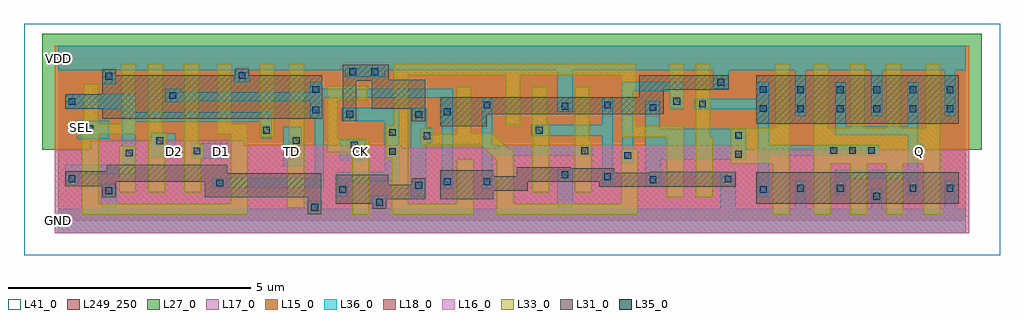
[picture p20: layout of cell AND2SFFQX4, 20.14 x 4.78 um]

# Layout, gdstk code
import gdstk
lib = gdstk.Library(unit=1e-6, precision=1e-09)
def R(c, l, rs):  # rectangles x0, y0, x1, y1
    for r in rs: c.add(gdstk.rectangle(r[:2], r[2:], *l))
def A(c, l, x, y, w, h, nx, ny, dx, dy):  # array of equal rectangles
    R(c, l, [(x+i*dx, y+j*dy, x+i*dx+w, y+j*dy+h) for i in range(nx) for j in range(ny)])
def P(c, l, *ps):  # polygons
    for p in ps: c.add(gdstk.Polygon(p, *l))
L15_0 = (15, 0)
L16_0 = (16, 0)
L17_0 = (17, 0)
L18_0 = (18, 0)
L27_0 = (27, 0)
L31_0 = (31, 0)
L33_0 = (33, 0)
L35_0 = (35, 0)
L36_0 = (36, 0)
L41_0 = (41, 0)
L249_250 = (249, 250)

and2sffqx4 = lib.new_cell('AND2SFFQX4')
P(and2sffqx4, L15_0, [(-0.08,1.47),(-0.08,3.61),(18.8,3.61),(18.8,1.47),(14.102,1.47),(14.102,1.56),(9.098,1.56),(9.098,1.5),(7.086,1.5),(7.086,1.56),(3.837,1.56),(3.837,1.654),(0.67,1.654),(0.67,1.47)])
P(and2sffqx4, L16_0, [(-0.08,-0.25),(-0.08,1.47),(0.67,1.47),(0.67,1.654),(3.837,1.654),(3.837,1.56),(7.086,1.56),(7.086,1.5),(9.098,1.5),(9.098,1.56),(14.102,1.56),(14.102,1.47),(18.8,1.47),(18.8,-0.25)])
P(and2sffqx4, L17_0, [(-0.08,1.47),(-0.08,3.61),(18.8,3.61),(18.8,1.47),(14.102,1.47),(14.102,1.56),(9.098,1.56),(9.098,1.5),(7.086,1.5),(7.086,1.56),(3.837,1.56),(3.837,1.654),(0.67,1.654),(0.67,1.47)])
P(and2sffqx4, L18_0, [(-0.08,-0.25),(-0.08,1.47),(0.67,1.47),(0.67,1.654),(3.837,1.654),(3.837,1.56),(7.086,1.56),(7.086,1.5),(9.098,1.5),(9.098,1.56),(14.102,1.56),(14.102,1.47),(18.8,1.47),(18.8,-0.25)])
P(and2sffqx4, L27_0, [(-0.33,1.47),(-0.33,3.86),(19.05,3.86),(19.05,1.47),(14.102,1.47),(14.102,1.56),(9.098,1.56),(9.098,1.5),(7.086,1.5),(7.086,1.56),(3.837,1.56),(3.837,1.654),(0.67,1.654),(0.67,1.47)])
R(and2sffqx4, L31_0, [(14.404,0.35,18.58,1), (14.404,2.01,18.58,3.01)])
P(and2sffqx4, L31_0, [(0.9,2.11),(0.9,2.315),(0.14,2.315),(0.14,2.615),(0.9,2.615),(0.9,3.125),(1.18,3.125),(1.18,3.01),(3.65,3.01),(3.65,3.139),(3.93,3.139),(3.93,3.01),(5.448,3.01),(5.448,2.11)],
  [(7.294,2.055),(7.294,2.31),(6.471,2.31),(6.471,2.89),(6.151,2.89),(6.151,2.06),(5.871,2.06),(5.871,3.22),(6.814,3.22),(6.814,2.91),(7.574,2.91),(7.574,2.055)],
  [(7.884,1.95),(7.884,2.55),(11.99,2.55),(11.99,3.01),(13.83,3.01),(13.83,2.71),(12.495,2.71),(12.495,2.2),(8.834,2.2),(8.834,1.95)],
  [(7.884,0.45),(7.884,1.05),(8.972,1.05),(8.972,0.92),(9.462,0.92),(9.462,1.11),(10.582,1.11),(10.582,1.09),(11.47,1.09),(11.47,0.99),(12.225,0.99),(12.225,1.01),(13.975,1.01),(13.975,0.71),(11.157,0.71),(11.157,0.81),(9.682,0.81),(9.682,0.62),(8.972,0.62),(8.972,0.45)],
  [(6.488,0.247),(6.488,0.35),(5.728,0.35),(5.728,0.95),(6.804,0.95),(6.804,0.75),(7.294,0.75),(7.294,0.876),(7.574,0.876),(7.574,0.45),(6.768,0.45),(6.768,0.247)],
  [(5.148,0.14),(5.148,0.488),(3.021,0.488),(3.021,0.81),(1.18,0.81),(1.18,0.485),(0.9,0.485),(0.9,0.72),(0.14,0.72),(0.14,1.02),(1.001,1.02),(1.001,1.16),(3.484,1.16),(3.484,0.988),(5.428,0.988),(5.428,0.14)])
R(and2sffqx4, L33_0, [(1.251,0.59,1.601,1.55), (4.154,1.73,4.454,3.23), (12.6,2.33,12.9,3.23)])
P(and2sffqx4, L33_0, [(10.652,0.59),(10.652,2.77),(10.952,2.77),(10.952,1.666),(11.002,1.666),(11.002,0.59)],
  [(9.782,0.59),(9.782,2.77),(10.082,2.77),(10.082,2.01),(10.132,2.01),(10.132,0.59)],
  [(2.601,0.59),(2.601,3.23),(2.901,3.23),(2.901,1.582),(3,1.582),(3,1.302),(2.951,1.302),(2.951,0.59)],
  [(1.851,0.59),(1.851,3.23),(2.151,3.23),(2.151,1.796),(2.233,1.796),(2.233,1.496),(2.201,1.496),(2.201,0.59)],
  [(13.15,0.49),(13.15,3.23),(13.45,3.23),(13.45,1.715),(13.5,1.715),(13.5,0.49)],
  [(4.718,0.268),(4.718,1.261),(4.768,1.261),(4.768,3.23),(5.068,3.23),(5.068,0.268)],
  [(15.586,0.13),(15.586,3.23),(15.886,3.23),(15.886,1.91),(16.336,1.91),(16.336,3.23),(16.636,3.23),(16.636,1.91),(17.086,1.91),(17.086,3.23),(17.386,3.23),(17.386,1.91),(17.898,1.91),(17.898,3.23),(18.198,3.23),(18.198,0.13),(17.848,0.13),(17.848,1.183),(17.436,1.183),(17.436,0.13),(17.086,0.13),(17.086,1.183),(16.686,1.183),(16.686,0.13),(16.336,0.13),(16.336,1.183),(15.936,1.183),(15.936,0.13)],
  [(14.744,0.13),(14.744,1.183),(13.876,1.183),(13.876,1.91),(14.794,1.91),(14.794,3.23),(15.094,3.23),(15.094,0.13)],
  [(9.042,0.13),(9.042,1.251),(8.723,1.57),(7.474,1.57),(7.474,1.9),(7.744,1.9),(7.744,1.79),(8.224,1.79),(8.224,2.77),(8.524,2.77),(8.524,1.81),(8.961,1.81),(9.28,1.491),(9.392,1.491),(9.392,0.35),(11.61,0.35),(11.61,1.49),(11.96,1.49),(11.96,0.13)],
  [(6.874,0.13),(6.874,1.293),(6.75,1.293),(6.75,1.963),(6.924,1.963),(6.924,3.23),(11.91,3.23),(11.91,1.95),(12.9,1.95),(12.9,0.49),(12.55,0.49),(12.55,1.73),(11.61,1.73),(11.61,3.01),(9.532,3.01),(9.532,1.98),(9.232,1.98),(9.232,3.01),(7.224,3.01),(7.224,0.35),(8.224,0.35),(8.224,1.27),(8.574,1.27),(8.574,0.13)],
  [(6.068,0.13),(6.068,1.42),(5.548,1.42),(5.548,2.79),(6.371,2.79),(6.371,2.49),(5.768,2.49),(5.768,1.7),(6.418,1.7),(6.418,0.13)],
  [(0.48,0.13),(0.48,1.767),(0.389,1.767),(0.389,2.047),(0.52,2.047),(0.52,2.835),(0.82,2.835),(0.82,2.01),(1.301,2.01),(1.301,3.23),(1.601,3.23),(1.601,1.79),(0.83,1.79),(0.83,0.35),(3.554,0.35),(3.554,1.79),(3.28,1.79),(3.28,3.23),(3.58,3.23),(3.58,2.01),(3.904,2.01),(3.904,0.131),(3.844,0.131),(3.844,0.13)])
A(and2sffqx4, L35_0, 15.928, 1.385, 0.14, 0.14, 3, 1, 0.39, 0)
A(and2sffqx4, L35_0, 16.066, 2.245, 0.14, 0.14, 3, 2, 0.75, 0.39)
R(and2sffqx4, L35_0, [(5.218,0.21,5.358,0.35), (6.558,0.317,6.698,0.457), (16.816,0.44,16.956,0.58), (0.97,0.555,1.11,0.695), (5.798,0.58,5.938,0.72), (14.474,0.58,14.614,0.72), (15.244,0.605,15.384,0.745), (16.066,0.605,16.206,0.745), (17.566,0.605,17.706,0.745), (18.328,0.605,18.468,0.745), (7.364,0.666,7.504,0.806), (3.258,0.713,3.398,0.853), (7.954,0.74,8.094,0.88), (8.772,0.74,8.912,0.88), (12.2,0.78,12.34,0.92), (13.745,0.795,13.885,0.935), (0.21,0.798,0.35,0.938), (11.26,0.84,11.4,0.98), (10.382,0.88,10.522,1.02), (11.68,1.28,11.82,1.42), (13.964,1.303,14.104,1.443), (1.391,1.33,1.531,1.47), (6.824,1.363,6.964,1.503), (2.79,1.372,2.93,1.512), (10.792,1.38,10.932,1.52), (6.036,1.49,6.176,1.63), (2.023,1.586,2.163,1.726), (4.838,1.588,4.978,1.728), (7.534,1.69,7.674,1.83), (13.964,1.693,14.104,1.833), (6.824,1.753,6.964,1.893), (4.224,1.8,4.364,1.94), (9.852,1.8,9.992,1.94), (0.575,1.837,0.715,1.977), (7.364,2.125,7.504,2.265), (5.941,2.13,6.081,2.27), (7.954,2.18,8.094,2.32), (5.238,2.22,5.378,2.36), (15.244,2.245,15.384,2.385), (18.328,2.245,18.468,2.385), (14.474,2.25,14.614,2.39), (12.2,2.27,12.34,2.41), (10.382,2.294,10.522,2.434), (8.772,2.32,8.912,2.46), (11.26,2.32,11.4,2.46), (13.22,2.343,13.36,2.483), (0.21,2.395,0.35,2.535), (12.69,2.4,12.83,2.54), (2.291,2.516,2.431,2.656), (15.244,2.635,15.384,2.775), (18.328,2.635,18.468,2.775), (5.238,2.64,5.378,2.78), (14.474,2.64,14.614,2.78), (13.6,2.793,13.74,2.933), (0.97,2.915,1.11,3.055), (3.72,2.929,3.86,3.069), (6.006,3.01,6.146,3.15), (6.456,3.01,6.596,3.15)])
R(and2sffqx4, L36_0, [(4.644,1.118,5.018,1.945), (5.808,1.25,6.342,1.67), (2.75,1.282,3.498,1.602), (1.915,1.311,2.419,1.809), (0.384,1.687,1.035,2.067)])
P(and2sffqx4, L36_0, [(12.11,0.71),(12.11,2.48),(12.407,2.48),(12.407,1.903),(14.194,1.903),(14.194,1.26),(12.43,1.26),(12.43,0.71)],
  [(8.732,0.65),(8.732,2.55),(8.952,2.55),(8.952,1.56),(11.02,1.56),(11.02,1.34),(8.952,1.34),(8.952,0.65)],
  [(7.914,0.65),(7.914,2.54),(5.478,2.54),(5.478,0.688),(3.168,0.688),(3.168,0.878),(5.288,0.878),(5.288,2.13),(5.198,2.13),(5.198,2.469),(2.521,2.469),(2.521,2.446),(2.201,2.446),(2.201,2.726),(2.521,2.726),(2.521,2.659),(5.198,2.659),(5.198,2.87),(5.418,2.87),(5.418,2.73),(8.134,2.73),(8.134,0.65)],
  [(16.026,0.515),(16.026,1.06),(17.526,1.06),(17.526,1.765),(16.026,1.765),(16.026,2.865),(16.246,2.865),(16.246,1.955),(17.526,1.955),(17.526,2.865),(17.746,2.865),(17.746,1.585),(17.834,1.585),(17.834,1.318),(17.746,1.318),(17.746,0.515),(17.526,0.515),(17.526,0.87),(16.246,0.87),(16.246,0.515)],
  [(14.434,0.49),(14.434,2.303),(13.134,2.303),(13.134,2.523),(14.434,2.523),(14.434,2.87),(14.654,2.87),(14.654,1.565),(16.938,1.565),(16.938,1.345),(14.654,1.345),(14.654,0.49)],
  [(7.274,0.49),(7.274,2.335),(7.594,2.335),(7.594,1.92),(7.714,1.92),(7.714,1.6),(7.594,1.6),(7.594,0.49)],
  [(5.758,0.49),(5.758,1.01),(6.73,1.01),(6.73,2.06),(5.851,2.06),(5.851,2.34),(7.034,2.34),(7.034,0.82),(5.978,0.82),(5.978,0.49)],
  [(0,-0.25),(0,0.25),(0.88,0.25),(0.88,0.765),(1.2,0.765),(1.2,0.25),(5.128,0.25),(5.128,0.42),(5.448,0.42),(5.448,0.25),(6.468,0.25),(6.468,0.527),(6.788,0.527),(6.788,0.25),(10.292,0.25),(10.292,1.06),(10.612,1.06),(10.612,0.25),(13.655,0.25),(13.655,1.005),(13.975,1.005),(13.975,0.25),(15.204,0.25),(15.204,0.835),(15.424,0.835),(15.424,0.25),(16.776,0.25),(16.776,0.67),(16.996,0.67),(16.996,0.25),(18.288,0.25),(18.288,0.835),(18.508,0.835),(18.508,0.25),(18.72,0.25),(18.72,-0.25)],
  [(11.64,1.19),(11.64,2.87),(12.9,2.87),(12.9,2.31),(12.62,2.31),(12.62,2.68),(11.86,2.68),(11.86,1.19)],
  [(15.204,2.155),(15.204,3.11),(13.83,3.11),(13.83,2.723),(13.51,2.723),(13.51,3.11),(10.612,3.11),(10.612,2.254),(10.292,2.254),(10.292,3.11),(6.732,3.11),(6.732,2.97),(5.916,2.97),(5.916,3.11),(3.95,3.11),(3.95,2.859),(3.63,2.859),(3.63,3.11),(1.18,3.11),(1.18,2.825),(0.9,2.825),(0.9,3.11),(0,3.11),(0,3.61),(18.72,3.61),(18.72,3.11),(18.508,3.11),(18.508,2.155),(18.288,2.155),(18.288,3.11),(16.996,3.11),(16.996,2.155),(16.776,2.155),(16.776,3.11),(15.424,3.11),(15.424,2.155)],
  [(0.14,0.728),(0.14,1.155),(1.316,1.155),(1.316,2.305),(0.14,2.305),(0.14,2.625),(1.596,2.625),(1.596,2.239),(4.404,2.239),(4.404,1.71),(4.184,1.71),(4.184,2.049),(1.596,2.049),(1.596,0.965),(0.42,0.965),(0.42,0.728)],
  [(11.22,0.75),(11.22,1.76),(9.762,1.76),(9.762,1.98),(11.22,1.98),(11.22,2.55),(11.44,2.55),(11.44,0.75)])
R(and2sffqx4, L41_0, [(-0.71,-0.708,19.43,4.068)])
R(and2sffqx4, L249_250, [(0,0,18.72,3.36)])
and2sffqx4.add(gdstk.Label('TD', (4.8,1.44), layer=211, texttype=0))
and2sffqx4.add(gdstk.Label('CK', (6.24,1.44), layer=211, texttype=0))
and2sffqx4.add(gdstk.Label('D1', (3.36,1.44), layer=211, texttype=0))
and2sffqx4.add(gdstk.Label('D2', (2.4,1.44), layer=211, texttype=0))
and2sffqx4.add(gdstk.Label('SEL', (0.48,1.92), layer=211, texttype=0))
and2sffqx4.add(gdstk.Label('VDD', (0,3.36), layer=211, texttype=0))
and2sffqx4.add(gdstk.Label('GND', (0,0), layer=211, texttype=0))
and2sffqx4.add(gdstk.Label('Q', (17.76,1.44), layer=211, texttype=0))

lib.write_gds('AND2SFFQX4.gds')
